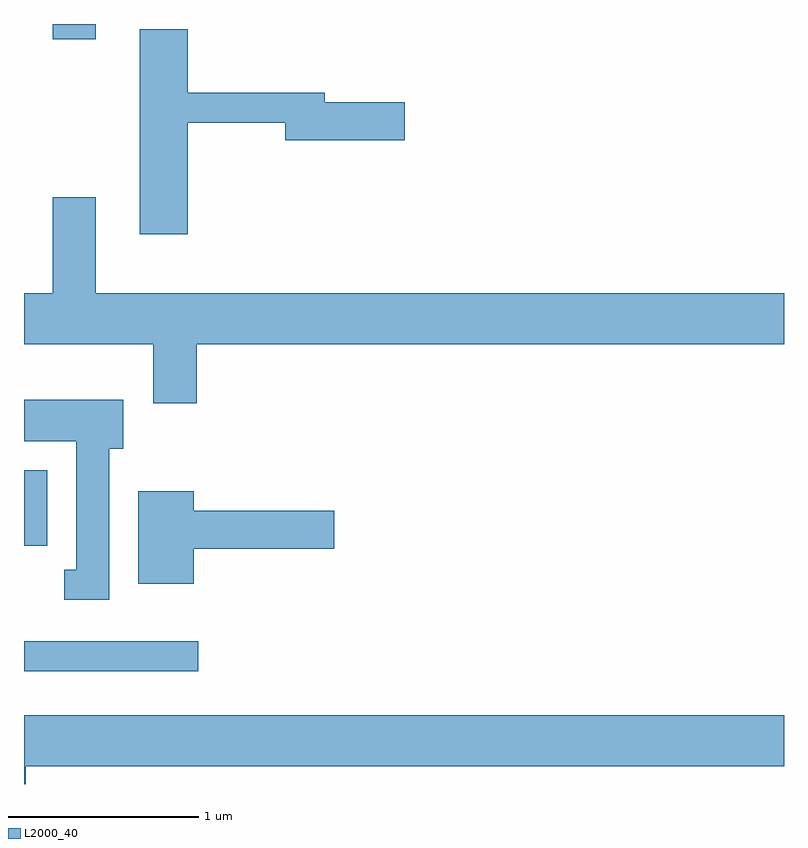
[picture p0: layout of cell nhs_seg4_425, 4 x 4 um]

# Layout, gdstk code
import gdstk
lib = gdstk.Library(unit=1e-6, precision=1e-09)
def R(c, l, rs):  # rectangles x0, y0, x1, y1
    for r in rs: c.add(gdstk.rectangle(r[:2], r[2:], *l))
def P(c, l, *ps):  # polygons
    for p in ps: c.add(gdstk.Polygon(p, *l))
L2000_40 = (2000, 40)

nhs_seg4_425 = lib.new_cell('nhs_seg4_425')
R(nhs_seg4_425, L2000_40, [(197.611,1288.576,198.528,1288.734), (197.611,1289.236,197.734,1289.634), (197.761,1291.901,197.989,1291.982)])
P(nhs_seg4_425, L2000_40, [(198.474,1291.461),(198.986,1291.461),(198.986,1291.371),(199.614,1291.371),(199.614,1291.569),(199.194,1291.569),(199.194,1291.619),(198.474,1291.619),(198.474,1291.954),(198.221,1291.954),(198.221,1290.876),(198.474,1290.876)],
  [(198.519,1290.296),(201.611,1290.296),(201.611,1290.564),(197.989,1290.564),(197.989,1291.069),(197.761,1291.069),(197.761,1290.564),(197.611,1290.564),(197.611,1290.296),(198.291,1290.296),(198.291,1289.986),(198.519,1289.986)],
  [(198.059,1289.746),(198.134,1289.746),(198.134,1290.004),(197.611,1290.004),(197.611,1289.786),(197.886,1289.786),(197.886,1289.109),(197.823,1289.109),(197.823,1288.951),(198.059,1288.951)],
  [(198.504,1289.221),(199.244,1289.221),(199.244,1289.419),(198.504,1289.419),(198.504,1289.524),(198.211,1289.524),(198.211,1289.036),(198.504,1289.036)],
  [(197.619,1288.076),(201.611,1288.076),(201.611,1288.344),(197.611,1288.344),(197.611,1287.982),(197.619,1287.982)])

lib.write_gds('nhs_seg4_425.gds')
